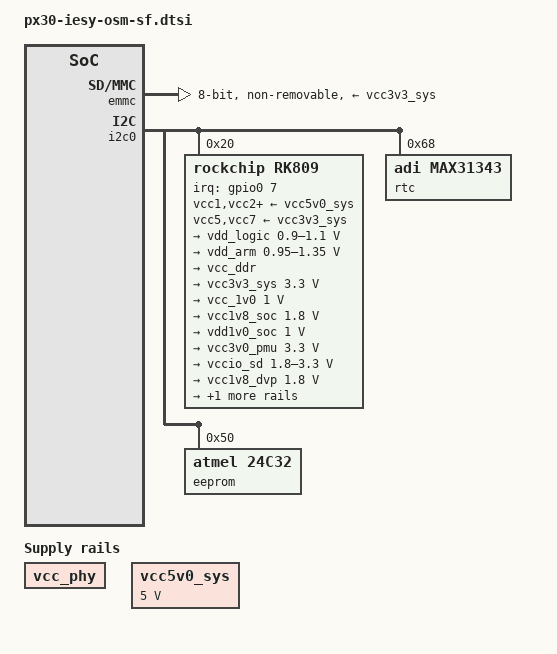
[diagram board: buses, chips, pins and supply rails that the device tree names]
// SPDX-License-Identifier: (GPL-2.0+ OR MIT)
/*
 * Device Tree for iesy RPX30 OSM SF (OSM Module)
 *
 * Copyright (c) 2023 iesy GmbH
 */

#include "../rockchip/px30.dtsi"

/ {
	aliases {
		mmc0 = &emmc;
		mmc1 = &sdmmc;
		mmc2 = &sdio;
	};

	chosen {
		bootargs = "earlycon=uart8250,mmio32,0xff160000 console=ttyFIQ0 rw root=PARTUUID=614e0000-0000 rootwait";
	};

	fiq-debugger {
		compatible = "rockchip,fiq-debugger";
		rockchip,serial-id = <2>;
		rockchip,wake-irq = <0>;
		/* If enable uart uses irq instead of fiq */
		rockchip,irq-mode-enable = <1>;
		rockchip,baudrate = <115200>;  /* Only 115200 and 1500000 */
		interrupts = <GIC_SPI 127 IRQ_TYPE_LEVEL_LOW>;
		pinctrl-names = "default";
		pinctrl-0 = <&uart2m1_xfer>;
		status = "okay";
	};

	vcc_phy: vcc-phy-regulator {
		compatible = "regulator-fixed";
		regulator-name = "vcc_phy";
		regulator-always-on;
		regulator-boot-on;
	};

	vcc5v0_sys: vccsys {
		compatible = "regulator-fixed";
		regulator-name = "vcc5v0_sys";
		regulator-always-on;
		regulator-boot-on;
		regulator-min-microvolt = <5000000>;
		regulator-max-microvolt = <5000000>;
	};
};

&cpu0 {
	cpu-supply = <&vdd_arm>;
};

&cpu0_opp_table {
	rockchip,avs = <1>;
};

/* eMMC on OSM module */
&emmc {
	bus-width = <8>;
	cap-mmc-highspeed;
	mmc-hs200-1_8v;
	supports-emmc;
	disable-wp;
	non-removable;
	num-slots = <1>;
	status = "okay";

	vmmc-supply = <&vcc3v3_sys>;
	vqmmc-supply = <&vcc1v8_soc>;
};

/* Rockchip General Register File (GRF) */
&grf {
	io_domains: io-domains {
		/* should be defined to avoid kernel log error */
		/* but no further info about vccio-oscgpi for PX30 available */
		/* vccio-oscgpi-supply = <???>; */
	};
};

&i2c0 {
	status = "okay";

	/* Power Management IC */
	rk809: pmic@20 {
		compatible = "rockchip,rk809";
		reg = <0x20>;
		interrupt-parent = <&gpio0>;
		interrupts = <7 IRQ_TYPE_LEVEL_LOW>;
		pinctrl-names = "default", "pmic-sleep",
				"pmic-power-off", "pmic-reset";
		pinctrl-0 = <&pmic_int>;
		pinctrl-1 = <&soc_slppin_slp>, <&rk817_slppin_slp>;
		pinctrl-2 = <&soc_slppin_gpio>, <&rk817_slppin_pwrdn>;
		pinctrl-3 = <&soc_slppin_rst>, <&rk817_slppin_rst>;
		rockchip,system-power-controller;
		wakeup-source;
		#clock-cells = <1>;
		clock-output-names = "rk808-clkout1", "rk808-clkout2";
		//fb-inner-reg-idxs = <2>;
		/* 1: rst regs (default in codes), 0: rst the pmic */
		pmic-reset-func = <1>;

		vcc1-supply = <&vcc5v0_sys>;
		vcc2-supply = <&vcc5v0_sys>;
		vcc3-supply = <&vcc5v0_sys>;
		vcc4-supply = <&vcc5v0_sys>;
		vcc5-supply = <&vcc3v3_sys>;
		vcc6-supply = <&vcc5v0_sys>;
		vcc7-supply = <&vcc3v3_sys>;
		vcc8-supply = <&vcc5v0_sys>;
		vcc9-supply = <&vcc5v0_sys>;

		pwrkey {
			status = "okay";
		};

		pinctrl_rk8xx: pinctrl_rk8xx {
			gpio-controller;
			#gpio-cells = <2>;

			rk817_slppin_null: rk817_slppin_null {
				pins = "gpio_slp";
				function = "pin_fun0";
			};

			rk817_slppin_slp: rk817_slppin_slp {
				pins = "gpio_slp";
				function = "pin_fun1";
			};

			rk817_slppin_pwrdn: rk817_slppin_pwrdn {
				pins = "gpio_slp";
				function = "pin_fun2";
			};

			rk817_slppin_rst: rk817_slppin_rst {
				pins = "gpio_slp";
				function = "pin_fun3";
			};
		};

		regulators {
			/* SW1: 1V0 LOG */
			vdd_logic: DCDC_REG1 {
				regulator-always-on;
				regulator-boot-on;
				regulator-min-microvolt = <900000>;
				regulator-max-microvolt = <1100000>;
				regulator-ramp-delay = <6001>;
				regulator-initial-mode = <0x2>;
				regulator-name = "vdd_logic";
				regulator-state-mem {
					regulator-on-in-suspend;
					regulator-suspend-microvolt = <950000>;
				};
			};

			/* SW2: 1V0 ARM */
			vdd_arm: DCDC_REG2 {
				regulator-always-on;
				regulator-boot-on;
				regulator-min-microvolt = <950000>;
				regulator-max-microvolt = <1350000>;
				regulator-ramp-delay = <6001>;
				regulator-initial-mode = <0x2>;
				regulator-name = "vdd_arm";
				regulator-state-mem {
					regulator-off-in-suspend;
					regulator-suspend-microvolt = <950000>;
				};
			};

			/* SW3: 1V2 DDR */
			vcc_ddr: DCDC_REG3 {
				regulator-always-on;
				regulator-boot-on;
				regulator-name = "vcc_ddr";
				regulator-initial-mode = <0x2>;
				regulator-state-mem {
					regulator-on-in-suspend;
				};
			};

			/* SW4: unused */

			/* SW5: 3V3 IO */
			vcc3v3_sys: DCDC_REG5 {
				regulator-always-on;
				regulator-boot-on;
				regulator-min-microvolt = <3300000>;
				regulator-max-microvolt = <3300000>;
				regulator-name = "vcc3v3_sys";
				regulator-state-mem {
					regulator-on-in-suspend;
					regulator-suspend-microvolt = <3300000>;
				};
			};

			/* LDO1: 1V0 LDO1 */
			vcc_1v0: LDO_REG1 {
				regulator-always-on;
				regulator-boot-on;
				regulator-min-microvolt = <1000000>;
				regulator-max-microvolt = <1000000>;
				regulator-name = "vcc_1v0";
				regulator-state-mem {
					regulator-on-in-suspend;
					regulator-suspend-microvolt = <1000000>;
				};
			};

			/* LDO2: 1V8 IO1 */
			vcc1v8_soc: LDO_REG2 {
				regulator-always-on;
				regulator-boot-on;
				regulator-min-microvolt = <1800000>;
				regulator-max-microvolt = <1800000>;

				regulator-name = "vcc1v8_soc";
				regulator-state-mem {
					regulator-on-in-suspend;
					regulator-suspend-microvolt = <1800000>;
				};
			};

			/* LDO3: 1V0 LDO3 */
			vdd1v0_soc: LDO_REG3 {
				regulator-always-on;
				regulator-boot-on;
				regulator-min-microvolt = <1000000>;
				regulator-max-microvolt = <1000000>;

				regulator-name = "vcc1v0_soc";
				regulator-state-mem {
					regulator-on-in-suspend;
					regulator-suspend-microvolt = <1000000>;
				};
			};

			/* LDO4: 3V3 PMU */
			vcc3v0_pmu: LDO_REG4 {
				regulator-always-on;
				regulator-boot-on;
				regulator-min-microvolt = <3300000>;
				regulator-max-microvolt = <3300000>;

				regulator-name = "vcc3v0_pmu";
				regulator-state-mem {
					regulator-on-in-suspend;
					regulator-suspend-microvolt = <3300000>;

				};
			};

			/* LDO5: VCC SD */
			vccio_sd: LDO_REG5 {
				regulator-always-on;
				regulator-boot-on;
				regulator-min-microvolt = <1800000>;
				regulator-max-microvolt = <3300000>;

				regulator-name = "vccio_sd";
				regulator-state-mem {
					regulator-on-in-suspend;
					regulator-suspend-microvolt = <3300000>;
				};
			};

			/* LDO6: unused */

			/* LDO7: unused */

			/* LDO8: 1V8 IO2 */
			vcc1v8_dvp: LDO_REG8 {
				regulator-always-on;
				regulator-boot-on;
				regulator-min-microvolt = <1800000>;
				regulator-max-microvolt = <1800000>;

				regulator-name = "vcc1v8_dvp";
				regulator-state-mem {
					regulator-on-in-suspend;
					regulator-suspend-microvolt = <1800000>;
				};
			};

			/* LDO9: unused */

			/* Switch 1: unused */

			vcc3v3_lcd: SWITCH_REG2 {
				regulator-name = "vcc3v3_lcd";
			};
		};
	};

	/* RTC on OSM module REV3.00 */
	rtc@68 {
		status = "okay";
		compatible = "adi,max31343";
		reg = <0x68>;
	};

	/* CAT24C32 EEPROM on OSM module */
	eeprom@50 {
		status = "okay";
		compatible = "atmel,24c32";
		reg = <0x50>;
		pagesize = <32>;
	};
};

&pinctrl {
	pmic {
		pmic_int: pmic_int {
			rockchip,pins =
				<0 RK_PA7 RK_FUNC_GPIO &pcfg_pull_up>;
		};

		soc_slppin_gpio: soc_slppin_gpio {
			rockchip,pins =
				<0 RK_PA4 RK_FUNC_GPIO &pcfg_output_low>;
		};

		soc_slppin_slp: soc_slppin_slp {
			rockchip,pins =
				<0 RK_PA4 1 &pcfg_pull_none>;
		};

		soc_slppin_rst: soc_slppin_rst {
			rockchip,pins =
				<0 RK_PA4 2 &pcfg_pull_none>;
		};
	};

	uart2-m1 {
		uart2m1_xfer: uart2m1-xfer {
			rockchip,pins =
				<2 RK_PB4 2 &pcfg_pull_up>,
				<2 RK_PB6 2 &pcfg_pull_up_2ma>;
		};
	};
};
